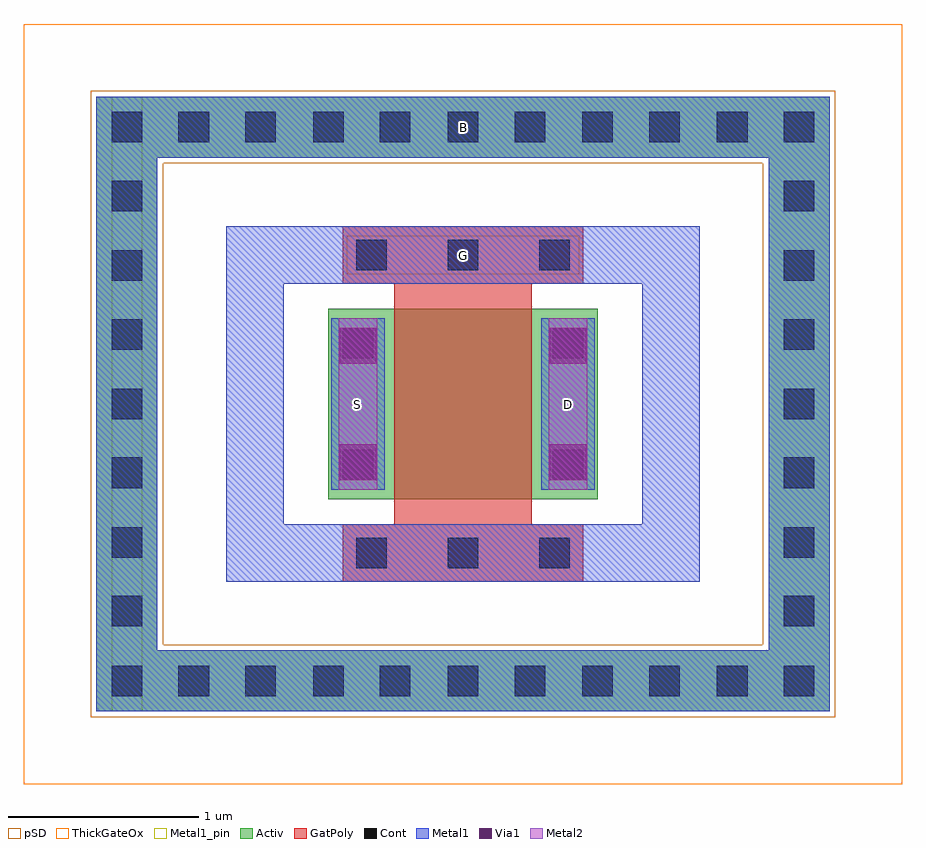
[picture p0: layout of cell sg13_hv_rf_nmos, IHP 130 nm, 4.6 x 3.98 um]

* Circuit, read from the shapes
.subckt sg13_hv_rf_nmos B D G S
XM1 D G S B sg13_hv_nmos w=1u l=0.72u
.ends

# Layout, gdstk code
from math import pi, radians
import gdstk
lib = gdstk.Library(unit=1e-6, precision=5e-09)
def R(c, l, rs):  # rectangles x0, y0, x1, y1
    for r in rs: c.add(gdstk.rectangle(r[:2], r[2:], *l))
def A(c, l, x, y, w, h, nx, ny, dx, dy):  # array of equal rectangles
    R(c, l, [(x+i*dx, y+j*dy, x+i*dx+w, y+j*dy+h) for i in range(nx) for j in range(ny)])
def P(c, l, *ps):  # polygons
    for p in ps: c.add(gdstk.Polygon(p, *l))
Activ = (1, 0)
GatPoly = (5, 0)
Cont = (6, 0)
Metal1 = (8, 0)
Metal1_pin = (8, 2)
Metal2 = (10, 0)
pSD = (14, 0)
Via1 = (19, 0)
ThickGateOx = (44, 0)

rfnmoshv = lib.new_cell('rfnmosHV')
R(rfnmoshv, Activ, [(1.49,1.595,2.49,3.005)])
P(rfnmoshv, Activ, [(0.38,0.38),(0.38,3.9),(0.7,3.9),(0.7,0.7),(3.28,0.7),(3.28,3.9),(0.38,3.9),(0.38,4.22),(3.6,4.22),(3.6,0.38)])
R(rfnmoshv, GatPoly, [(1.06,1.67,1.36,2.93), (2.62,1.67,2.92,2.93), (1.36,1.94,2.62,2.66)])
A(rfnmoshv, Cont, 0.46, 0.46, 0.16, 0.16, 1, 3, 0, 0.35)
A(rfnmoshv, Cont, 3.36, 0.46, 0.16, 0.16, 1, 3, 0, 0.35)
A(rfnmoshv, Cont, 1.13, 1.74, 0.16, 0.16, 1, 3, 0, 0.48)
A(rfnmoshv, Cont, 2.69, 1.74, 0.16, 0.16, 1, 3, 0, 0.48)
R(rfnmoshv, Cont, [(0.82,0.46,0.98,0.62), (1.185,0.46,1.345,0.62), (1.545,0.46,1.705,0.62), (1.91,0.46,2.07,0.62), (2.27,0.46,2.43,0.62), (2.635,0.46,2.795,0.62), (2.995,0.46,3.155,0.62), (0.46,1.515,0.62,1.675), (3.36,1.515,3.52,1.675), (1.59,1.67,1.75,1.83), (2.23,1.67,2.39,1.83), (0.46,1.865,0.62,2.025), (3.36,1.865,3.52,2.025), (0.46,2.22,0.62,2.38), (3.36,2.22,3.52,2.38), (0.46,2.57,0.62,2.73), (3.36,2.57,3.52,2.73), (1.59,2.77,1.75,2.93), (2.23,2.77,2.39,2.93), (0.46,2.925,0.62,3.085), (3.36,2.925,3.52,3.085), (0.46,3.275,0.62,3.435), (3.36,3.275,3.52,3.435), (0.46,3.63,0.62,3.79), (3.36,3.63,3.52,3.79), (0.46,3.98,0.62,4.14), (0.82,3.98,0.98,4.14), (1.185,3.98,1.345,4.14), (1.545,3.98,1.705,4.14), (1.91,3.98,2.07,4.14), (2.27,3.98,2.43,4.14), (2.635,3.98,2.795,4.14), (2.995,3.98,3.155,4.14), (3.36,3.98,3.52,4.14)])
R(rfnmoshv, Metal1, [(0.38,0.38,3.6,0.7), (0.38,0.7,0.7,3.9), (3.28,0.7,3.6,3.9), (1.54,1.61,2.44,1.89), (1.11,1.69,1.31,2.91), (2.67,1.69,2.87,2.91), (1.54,2.71,2.44,2.99), (0.38,3.9,3.6,4.22)])
P(rfnmoshv, Metal1, [(1.06,1.06),(1.06,3.24),(1.36,3.24),(1.36,1.36),(2.62,1.36),(2.62,3.24),(1.06,3.24),(1.06,3.54),(2.92,3.54),(2.92,1.06)])
R(rfnmoshv, Metal1_pin, [(0.38,0.46,3.6,0.62), (0.38,0.46,3.6,0.62), (1.54,1.61,2.44,1.89), (1.54,1.61,2.44,1.89), (1.11,1.69,1.31,2.91), (1.11,1.69,1.31,2.91), (1.54,2.71,2.44,2.99), (1.54,2.71,2.44,2.99)])
R(rfnmoshv, Metal2, [(1.54,1.65,2.44,1.85), (1.54,2.75,2.44,2.95)])
P(rfnmoshv, pSD, [(0.35,0.35),(0.35,3.87),(0.73,3.87),(0.73,0.73),(3.25,0.73),(3.25,3.87),(0.35,3.87),(0.35,4.25),(3.63,4.25),(3.63,0.35)])
R(rfnmoshv, Via1, [(1.59,1.655,1.78,1.845), (2.2,1.655,2.39,1.845), (1.59,2.755,1.78,2.945), (2.2,2.755,2.39,2.945)])
R(rfnmoshv, ThickGateOx, [(0,0,3.98,4.6)])
rfnmoshv.add(gdstk.Label('S', (1.99,1.765), layer=63, texttype=0))
rfnmoshv.add(gdstk.Label('D', (1.99,2.865), layer=63, texttype=0))
rfnmoshv.add(gdstk.Label('G', (1.21,2.3), layer=63, texttype=0))
rfnmoshv.add(gdstk.Label('TIE', (1.99,0.54), layer=63, texttype=0))
rfnmoshv.add(gdstk.Label('rfnmosHV', (1.99,4.06), layer=63, texttype=0))

sg13_hv_rf_nmos = lib.new_cell('sg13_hv_rf_nmos')
R(sg13_hv_rf_nmos, Metal1_pin, [(1.685,1.925,1.815,2.055), (2.785,1.925,2.915,2.055), (2.235,2.705,2.365,2.835), (2.235,3.375,2.365,3.505)])
sg13_hv_rf_nmos.add(gdstk.Reference(rfnmoshv, (0,3.98), rotation=3*pi/2))
sg13_hv_rf_nmos.add(gdstk.Label('D', (2.85,1.99), layer=8, texttype=25))
sg13_hv_rf_nmos.add(gdstk.Label('S', (1.75,1.99), layer=8, texttype=25))
sg13_hv_rf_nmos.add(gdstk.Label('G', (2.3,2.77), layer=8, texttype=25))
sg13_hv_rf_nmos.add(gdstk.Label('B', (2.3,3.44), layer=8, texttype=25))

lib.write_gds('sg13_hv_rf_nmos.gds')
